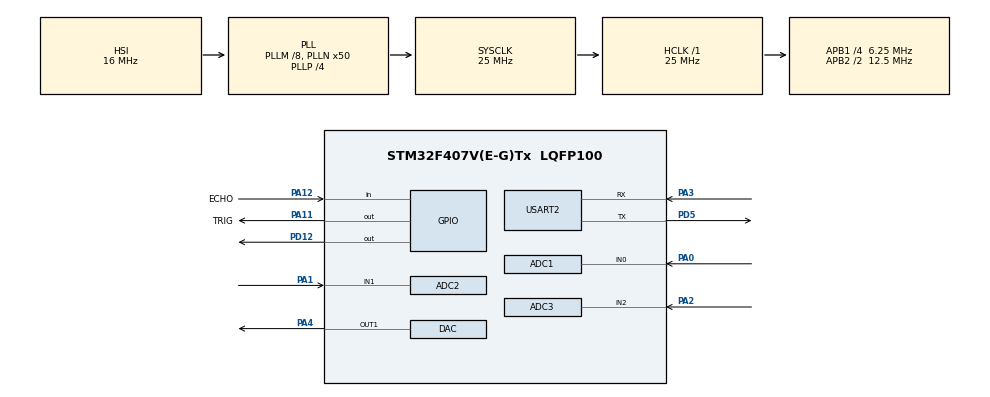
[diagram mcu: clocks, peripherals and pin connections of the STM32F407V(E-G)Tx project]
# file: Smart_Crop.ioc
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ADC1.Channel-3\#ChannelRegularConversion=ADC_CHANNEL_0
ADC1.NbrOfConversionFlag=1
ADC1.Rank-3\#ChannelRegularConversion=1
ADC1.SamplingTime-3\#ChannelRegularConversion=ADC_SAMPLETIME_3CYCLES
ADC1.master=1
ADC2.Channel-3\#ChannelRegularConversion=ADC_CHANNEL_1
ADC2.NbrOfConversionFlag=1
ADC2.Rank-3\#ChannelRegularConversion=1
ADC2.SamplingTime-3\#ChannelRegularConversion=ADC_SAMPLETIME_3CYCLES
ADC3.Channel-3\#ChannelRegularConversion=ADC_CHANNEL_2
ADC3.NbrOfConversionFlag=1
ADC3.Rank-3\#ChannelRegularConversion=1
ADC3.SamplingTime-3\#ChannelRegularConversion=ADC_SAMPLETIME_3CYCLES
Mcu.Family=STM32F4
Mcu.Name=STM32F407V(E-G)Tx
Mcu.Package=LQFP100
NVIC.PriorityGroup=NVIC_PRIORITYGROUP_0
PA0-WKUP.Signal=ADCx_IN0
PA1.Signal=ADCx_IN1
PA11.GPIO_Label=TRIG
PA11.Signal=GPIO_Output
PA12.GPIO_Label=ECHO
PA12.Signal=GPIO_Input
PA2.Signal=ADCx_IN2
PA3.Mode=Asynchronous
PA3.Signal=USART2_RX
PA4.Signal=COMP_DAC1_group
PD12.Signal=GPIO_Output
PD5.Mode=Asynchronous
PD5.Signal=USART2_TX
ProjectManager.HeapSize=0x200
ProjectManager.StackSize=0x400
ProjectManager.TargetToolchain=STM32CubeIDE
RCC.48MHZClocksFreq_Value=14285714.285714285
RCC.AHBFreq_Value=25000000
RCC.APB1CLKDivider=RCC_HCLK_DIV4
RCC.APB1Freq_Value=6250000
RCC.APB1TimFreq_Value=12500000
RCC.APB2CLKDivider=RCC_HCLK_DIV2
RCC.APB2Freq_Value=12500000
RCC.APB2TimFreq_Value=25000000
RCC.CortexFreq_Value=25000000
RCC.HCLKFreq_Value=25000000
RCC.HSE_VALUE=8000000
RCC.HSI_VALUE=16000000
RCC.LSE_VALUE=32768
RCC.PLLM=8
RCC.PLLN=50
RCC.PLLP=RCC_PLLP_DIV4
RCC.PLLQ=7
RCC.SYSCLKFreq_VALUE=25000000
RCC.SYSCLKSource=RCC_SYSCLKSOURCE_PLLCLK
RCC.VCOOutputFreq_Value=100000000
SH.ADCx_IN0.0=ADC1_IN0,IN0
SH.ADCx_IN1.0=ADC2_IN1,IN1
SH.ADCx_IN2.0=ADC3_IN2,IN2
SH.COMP_DAC1_group.0=DAC_OUT1,DAC_OUT1
TIM4.Prescaler=83
USART2.VirtualMode=VM_ASYNC
VP_TIM4_VS_ClockSourceINT.Mode=Internal
board=STM32F407G-DISC1

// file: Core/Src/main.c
/* USER CODE BEGIN Header */
/**
  ******************************************************************************
  * @file           : main.c
  * @brief          : Main program body
  ******************************************************************************
  * @attention
  *
  * Copyright (c) 2024 STMicroelectronics.
  * All rights reserved.
  *
  * This software is licensed under terms that can be found in the LICENSE file
  * in the root directory of this software component.
  * If no LICENSE file comes with this software, it is provided AS-IS.
  *
  ******************************************************************************
  */
/* USER CODE END Header */
#include "main.h"

/* USER CODE BEGIN Includes */
#include <stdio.h>
#include <string.h>
/* USER CODE END Includes */

/* USER CODE BEGIN PTD */
#define usTIM TIM4
/* USER CODE END PTD */

ADC_HandleTypeDef hadc1;
ADC_HandleTypeDef hadc2;
ADC_HandleTypeDef hadc3;

DAC_HandleTypeDef hdac;

TIM_HandleTypeDef htim4;

UART_HandleTypeDef huart2;

void SystemClock_Config(void);
static void MX_GPIO_Init(void);
static void MX_ADC1_Init(void);
static void MX_ADC2_Init(void);
static void MX_ADC3_Init(void);
static void MX_USART2_UART_Init(void);
static void MX_DAC_Init(void);
static void MX_TIM4_Init(void);
/* USER CODE BEGIN PFP */
void usDelay(uint32_t uSec);
/* USER CODE END PFP */

/* USER CODE BEGIN 0 */
uint8_t icFlag = 0;
uint8_t captureIdx=0;
uint32_t edge1Time=0, edge2Time=0;

const float speedOfSound = 0.0343/2;
float distance;

char uartBuf[100];
/* USER CODE END 0 */

int main(void)
{

  /* MCU Configuration--------------------------------------------------------*/

  /* Reset of all peripherals, Initializes the Flash interface and the Systick. */
  HAL_Init();

  /* Configure the system clock */
  SystemClock_Config();

  /* Initialize all configured peripherals */
  MX_GPIO_Init();
  MX_ADC1_Init();
  MX_ADC2_Init();
  MX_ADC3_Init();
  MX_USART2_UART_Init();
  MX_DAC_Init();
  MX_TIM4_Init();
  /* USER CODE BEGIN 2 */
HAL_DAC_Start(&hdac,DAC_CHANNEL_1);
  /* USER CODE END 2 */

  /* Infinite loop */
  /* USER CODE BEGIN WHILE */
uint32_t dacVal = 0;
uint32_t d=0;

  while (1)
  {
	  uint32_t adcVal;
	  uint32_t lm35;
	  uint32_t mq2;
	  char str[16];
	  dacVal = (dacVal + 4) & 0xFF;
	  HAL_DAC_SetValue(&hdac, DAC_CHANNEL_1, DAC_ALIGN_8B_R, dacVal);
	  HAL_Delay(200);
	 // HAL_GPIO_WritePin(TRIG_GPIO_Port, TRIG_Pin, GPIO_PIN_RESET)
	  usDelay(3);

	  //1. Output 10 usec TRIG
	  HAL_GPIO_WritePin(TRIG_GPIO_Port, TRIG_Pin, GPIO_PIN_SET);
	  usDelay(10);
	  HAL_GPIO_WritePin(TRIG_GPIO_Port, TRIG_Pin, GPIO_PIN_RESET);
	  	  	  // ADC Single conversion mode -- Polling
	  HAL_ADC_Start(&hadc1);
	  HAL_ADC_Start(&hadc2);
	  HAL_ADC_Start(&hadc3);
	  HAL_ADC_PollForConversion(&hadc1, HAL_MAX_DELAY);
	  HAL_ADC_PollForConversion(&hadc2, HAL_MAX_DELAY);
	  HAL_ADC_PollForConversion(&hadc3, HAL_MAX_DELAY);

	  adcVal = HAL_ADC_GetValue(&hadc1);
	  lm35 = HAL_ADC_GetValue(&hadc2);
	  mq2 = HAL_ADC_GetValue(&hadc3);
	  d = HAL_DAC_GetValue(&hdac, DAC1_CHANNEL_1);
	  HAL_ADC_Stop(&hadc1);

	  //2. ECHO signal pulse width
	  //Start IC timer
	  HAL_TIM_IC_Start_IT(&htim4, TIM_CHANNEL_1);
	  uint32_t startTick = HAL_GetTick();
	  		do
	  		{
	  			if(icFlag) break;
	  		}while((HAL_GetTick() - startTick) < 500);  //500ms
	  		icFlag = 0;
	  		HAL_TIM_IC_Stop_IT(&htim4, TIM_CHANNEL_1);

	  		//Calculate distance in cm
	  		if(edge2Time > edge1Time)
	  		{
	  			distance = ((edge2Time - edge1Time) + 0.0f)*speedOfSound;
	  		}
	  		else
	  		{
	  			distance = 0.0f;
	  		}

	  		//Print to UART terminal for debugging

	 // sprintf(str, "Level : %lf\r\n", distance);
	 // HAL_UART_Transmit(&huart2, (uint8_t *)str, strlen(str), HAL_MAX_DELAY);

	  sprintf(str, "ADC: %lu\r\n", adcVal);
	  HAL_UART_Transmit(&huart2, (uint8_t*)str, strlen(str), HAL_MAX_DELAY);
	  sprintf(str, "LM35: %lu\r\n",lm35);
	  HAL_UART_Transmit(&huart2, (uint8_t*)str, strlen(str), HAL_MAX_DELAY);
	  sprintf(str, "MQ2: %lu\r\n", mq2);
	  HAL_UART_Transmit(&huart2, (uint8_t*)str, strlen(str), HAL_MAX_DELAY);
	  sprintf(str, "hk008: %lu\r\n", d);
	  HAL_UART_Transmit(&huart2, (uint8_t*)str, strlen(str), HAL_MAX_DELAY);

	  HAL_Delay(1000);
    /* USER CODE END WHILE */

  }
}

void SystemClock_Config(void)
{
  RCC_OscInitTypeDef RCC_OscInitStruct = {0};
  RCC_ClkInitTypeDef RCC_ClkInitStruct = {0};

  /** Configure the main internal regulator output voltage
  */
  __HAL_RCC_PWR_CLK_ENABLE();
  __HAL_PWR_VOLTAGESCALING_CONFIG(PWR_REGULATOR_VOLTAGE_SCALE1);

  /** Initializes the RCC Oscillators according to the specified parameters
  * in the RCC_OscInitTypeDef structure.
  */
  RCC_OscInitStruct.OscillatorType = RCC_OSCILLATORTYPE_HSI;
  RCC_OscInitStruct.HSIState = RCC_HSI_ON;
  RCC_OscInitStruct.HSICalibrationValue = RCC_HSICALIBRATION_DEFAULT;
  RCC_OscInitStruct.PLL.PLLState = RCC_PLL_ON;
  RCC_OscInitStruct.PLL.PLLSource = RCC_PLLSOURCE_HSI;
  RCC_OscInitStruct.PLL.PLLM = 8;
  RCC_OscInitStruct.PLL.PLLN = 50;
  RCC_OscInitStruct.PLL.PLLP = RCC_PLLP_DIV4;
  RCC_OscInitStruct.PLL.PLLQ = 7;
  if (HAL_RCC_OscConfig(&RCC_OscInitStruct) != HAL_OK)
  {
    Error_Handler();
  }

  /** Initializes the CPU, AHB and APB buses clocks
  */
  RCC_ClkInitStruct.ClockType = RCC_CLOCKTYPE_HCLK|RCC_CLOCKTYPE_SYSCLK
                              |RCC_CLOCKTYPE_PCLK1|RCC_CLOCKTYPE_PCLK2;
  RCC_ClkInitStruct.SYSCLKSource = RCC_SYSCLKSOURCE_PLLCLK;
  RCC_ClkInitStruct.AHBCLKDivider = RCC_SYSCLK_DIV1;
  RCC_ClkInitStruct.APB1CLKDivider = RCC_HCLK_DIV4;
  RCC_ClkInitStruct.APB2CLKDivider = RCC_HCLK_DIV2;

  if (HAL_RCC_ClockConfig(&RCC_ClkInitStruct, FLASH_LATENCY_0) != HAL_OK)
  {
    Error_Handler();
  }
}

static void MX_ADC1_Init(void)
{

  ADC_ChannelConfTypeDef sConfig = {0};

  /** Configure the global features of the ADC (Clock, Resolution, Data Alignment and number of conversion)
  */
  hadc1.Instance = ADC1;
  hadc1.Init.ClockPrescaler = ADC_CLOCK_SYNC_PCLK_DIV2;
  hadc1.Init.Resolution = ADC_RESOLUTION_12B;
  hadc1.Init.ScanConvMode = DISABLE;
  hadc1.Init.ContinuousConvMode = DISABLE;
  hadc1.Init.DiscontinuousConvMode = DISABLE;
  hadc1.Init.ExternalTrigConvEdge = ADC_EXTERNALTRIGCONVEDGE_NONE;
  hadc1.Init.ExternalTrigConv = ADC_SOFTWARE_START;
  hadc1.Init.DataAlign = ADC_DATAALIGN_RIGHT;
  hadc1.Init.NbrOfConversion = 1;
  hadc1.Init.DMAContinuousRequests = DISABLE;
  hadc1.Init.EOCSelection = ADC_EOC_SINGLE_CONV;
  if (HAL_ADC_Init(&hadc1) != HAL_OK)
  {
    Error_Handler();
  }

  /** Configure for the selected ADC regular channel its corresponding rank in the sequencer and its sample time.
  */
  sConfig.Channel = ADC_CHANNEL_0;
  sConfig.Rank = 1;
  sConfig.SamplingTime = ADC_SAMPLETIME_3CYCLES;
  if (HAL_ADC_ConfigChannel(&hadc1, &sConfig) != HAL_OK)
  {
    Error_Handler();
  }

}

static void MX_ADC2_Init(void)
{

  ADC_ChannelConfTypeDef sConfig = {0};

  /** Configure the global features of the ADC (Clock, Resolution, Data Alignment and number of conversion)
  */
  hadc2.Instance = ADC2;
  hadc2.Init.ClockPrescaler = ADC_CLOCK_SYNC_PCLK_DIV2;
  hadc2.Init.Resolution = ADC_RESOLUTION_12B;
  hadc2.Init.ScanConvMode = DISABLE;
  hadc2.Init.ContinuousConvMode = DISABLE;
  hadc2.Init.DiscontinuousConvMode = DISABLE;
  hadc2.Init.ExternalTrigConvEdge = ADC_EXTERNALTRIGCONVEDGE_NONE;
  hadc2.Init.ExternalTrigConv = ADC_SOFTWARE_START;
  hadc2.Init.DataAlign = ADC_DATAALIGN_RIGHT;
  hadc2.Init.NbrOfConversion = 1;
  hadc2.Init.DMAContinuousRequests = DISABLE;
  hadc2.Init.EOCSelection = ADC_EOC_SINGLE_CONV;
  if (HAL_ADC_Init(&hadc2) != HAL_OK)
  {
    Error_Handler();
  }

  /** Configure for the selected ADC regular channel its corresponding rank in the sequencer and its sample time.
  */
  sConfig.Channel = ADC_CHANNEL_1;
  sConfig.Rank = 1;
  sConfig.SamplingTime = ADC_SAMPLETIME_3CYCLES;
  if (HAL_ADC_ConfigChannel(&hadc2, &sConfig) != HAL_OK)
  {
    Error_Handler();
  }

}

static void MX_ADC3_Init(void)
{

  ADC_ChannelConfTypeDef sConfig = {0};

  /** Configure the global features of the ADC (Clock, Resolution, Data Alignment and number of conversion)
  */
  hadc3.Instance = ADC3;
  hadc3.Init.ClockPrescaler = ADC_CLOCK_SYNC_PCLK_DIV2;
  hadc3.Init.Resolution = ADC_RESOLUTION_12B;
  hadc3.Init.ScanConvMode = DISABLE;
  hadc3.Init.ContinuousConvMode = DISABLE;
  hadc3.Init.DiscontinuousConvMode = DISABLE;
  hadc3.Init.ExternalTrigConvEdge = ADC_EXTERNALTRIGCONVEDGE_NONE;
  hadc3.Init.ExternalTrigConv = ADC_SOFTWARE_START;
  hadc3.Init.DataAlign = ADC_DATAALIGN_RIGHT;
  hadc3.Init.NbrOfConversion = 1;
  hadc3.Init.DMAContinuousRequests = DISABLE;
  hadc3.Init.EOCSelection = ADC_EOC_SINGLE_CONV;
  if (HAL_ADC_Init(&hadc3) != HAL_OK)
  {
    Error_Handler();
  }

  /** Configure for the selected ADC regular channel its corresponding rank in the sequencer and its sample time.
  */
  sConfig.Channel = ADC_CHANNEL_2;
  sConfig.Rank = 1;
  sConfig.SamplingTime = ADC_SAMPLETIME_3CYCLES;
  if (HAL_ADC_ConfigChannel(&hadc3, &sConfig) != HAL_OK)
  {
    Error_Handler();
  }

}

static void MX_DAC_Init(void)
{

  DAC_ChannelConfTypeDef sConfig = {0};

  /** DAC Initialization
  */
  hdac.Instance = DAC;
  if (HAL_DAC_Init(&hdac) != HAL_OK)
  {
    Error_Handler();
  }

  /** DAC channel OUT1 config
  */
  sConfig.DAC_Trigger = DAC_TRIGGER_NONE;
  sConfig.DAC_OutputBuffer = DAC_OUTPUTBUFFER_ENABLE;
  if (HAL_DAC_ConfigChannel(&hdac, &sConfig, DAC_CHANNEL_1) != HAL_OK)
  {
    Error_Handler();
  }

}

static void MX_TIM4_Init(void)
{

  TIM_ClockConfigTypeDef sClockSourceConfig = {0};
  TIM_MasterConfigTypeDef sMasterConfig = {0};

  htim4.Instance = TIM4;
  htim4.Init.Prescaler = 83;
  htim4.Init.CounterMode = TIM_COUNTERMODE_UP;
  htim4.Init.Period = 65535;
  htim4.Init.ClockDivision = TIM_CLOCKDIVISION_DIV1;
  htim4.Init.AutoReloadPreload = TIM_AUTORELOAD_PRELOAD_DISABLE;
  if (HAL_TIM_Base_Init(&htim4) != HAL_OK)
  {
    Error_Handler();
  }
  sClockSourceConfig.ClockSource = TIM_CLOCKSOURCE_INTERNAL;
  if (HAL_TIM_ConfigClockSource(&htim4, &sClockSourceConfig) != HAL_OK)
  {
    Error_Handler();
  }
  sMasterConfig.MasterOutputTrigger = TIM_TRGO_RESET;
  sMasterConfig.MasterSlaveMode = TIM_MASTERSLAVEMODE_DISABLE;
  if (HAL_TIMEx_MasterConfigSynchronization(&htim4, &sMasterConfig) != HAL_OK)
  {
    Error_Handler();
  }

}

static void MX_USART2_UART_Init(void)
{

  huart2.Instance = USART2;
  huart2.Init.BaudRate = 115200;
  huart2.Init.WordLength = UART_WORDLENGTH_8B;
  huart2.Init.StopBits = UART_STOPBITS_1;
  huart2.Init.Parity = UART_PARITY_NONE;
  huart2.Init.Mode = UART_MODE_TX_RX;
  huart2.Init.HwFlowCtl = UART_HWCONTROL_NONE;
  huart2.Init.OverSampling = UART_OVERSAMPLING_16;
  if (HAL_UART_Init(&huart2) != HAL_OK)
  {
    Error_Handler();
  }

}

static void MX_GPIO_Init(void)
{
  GPIO_InitTypeDef GPIO_InitStruct = {0};

  /* GPIO Ports Clock Enable */
  __HAL_RCC_GPIOA_CLK_ENABLE();
  __HAL_RCC_GPIOD_CLK_ENABLE();

  /*Configure GPIO pin Output Level */
  HAL_GPIO_WritePin(GPIOD, GPIO_PIN_12, GPIO_PIN_RESET);

  /*Configure GPIO pin Output Level */
  HAL_GPIO_WritePin(TRIG_GPIO_Port, TRIG_Pin, GPIO_PIN_RESET);

  /*Configure GPIO pin : PD12 */
  GPIO_InitStruct.Pin = GPIO_PIN_12;
  GPIO_InitStruct.Mode = GPIO_MODE_OUTPUT_PP;
  GPIO_InitStruct.Pull = GPIO_NOPULL;
  GPIO_InitStruct.Speed = GPIO_SPEED_FREQ_LOW;
  HAL_GPIO_Init(GPIOD, &GPIO_InitStruct);

  /*Configure GPIO pin : TRIG_Pin */
  GPIO_InitStruct.Pin = TRIG_Pin;
  GPIO_InitStruct.Mode = GPIO_MODE_OUTPUT_PP;
  GPIO_InitStruct.Pull = GPIO_NOPULL;
  GPIO_InitStruct.Speed = GPIO_SPEED_FREQ_LOW;
  HAL_GPIO_Init(TRIG_GPIO_Port, &GPIO_InitStruct);

  /*Configure GPIO pin : ECHO_Pin */
  GPIO_InitStruct.Pin = ECHO_Pin;
  GPIO_InitStruct.Mode = GPIO_MODE_INPUT;
  GPIO_InitStruct.Pull = GPIO_NOPULL;
  HAL_GPIO_Init(ECHO_GPIO_Port, &GPIO_InitStruct);

}

/* USER CODE BEGIN 4 */

void usDelay(uint32_t uSec)
{
	if(uSec < 2) uSec = 2;
	usTIM->ARR = uSec - 1; 	/*sets the value in the auto-reload register*/
	usTIM->EGR = 1; 			/*Re-initialises the timer*/
	usTIM->SR &= ~1; 		//Resets the flag
	usTIM->CR1 |= 1; 		//Enables the counter
	while((usTIM->SR&0x0001) != 1);
	usTIM->SR &= ~(0x0001);
}

void HAL_TIM_IC_CaptureCallback(TIM_HandleTypeDef *htim){
	HAL_GPIO_TogglePin(GPIOD, GPIO_PIN_12);
	if(captureIdx == 0) //Fisrt edge
			{
				edge1Time = HAL_TIM_ReadCapturedValue(htim, TIM_CHANNEL_1); //__HAL_TIM_GetCounter(&htim3);//

				captureIdx = 1;
			}
			else if(captureIdx == 1) //Second edge
			{
				edge2Time = HAL_TIM_ReadCapturedValue(htim, TIM_CHANNEL_1);
				captureIdx = 0;
				icFlag = 1;
			}

}

/* USER CODE END 4 */

void Error_Handler(void)
{
  __disable_irq();
  while (1)
  {
  }
}
